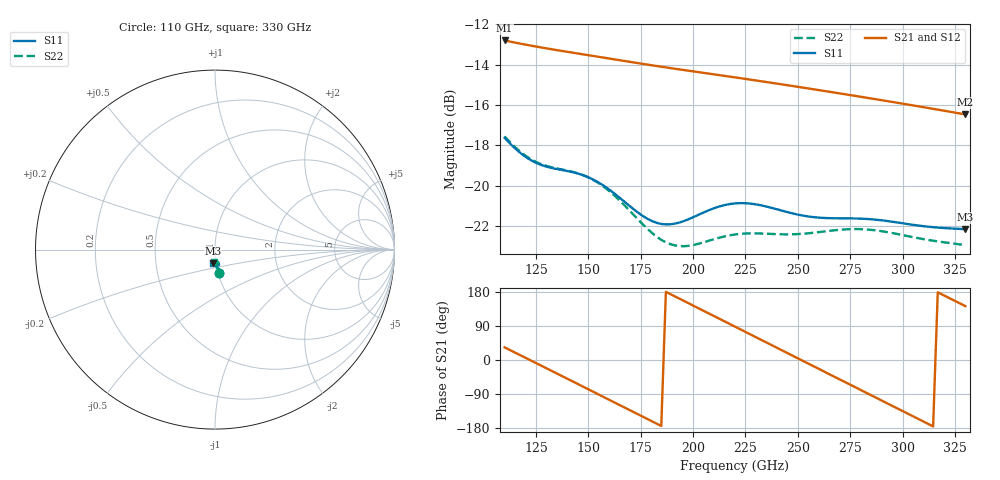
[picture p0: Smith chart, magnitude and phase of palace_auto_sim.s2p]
#  GHZ S DB R 50
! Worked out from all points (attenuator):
!   101 points, 110 GHz to 330 GHz, reference 50 ohm
!   highest |S21| = -12.79 dB at 110 GHz (marker M1); lowest = -16.5 dB at 330 GHz (marker M2)
!   lowest |S11| = -22.2 dB at 330 GHz (marker M3), VSWR 1.17, Z = 48.4 - j7.52 ohm
!   |S11| at or under -10 dB: start of sweep to end of sweep
!   |S22| runs from -23.0 to -17.6 dB; largest |S21 - S12| = 3e-14
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110  -17.62 -81.3  -12.79 33.3  -12.79 33.3  -17.55 -81.0
118.8  -18.48 -80.5  -12.98 9.0  -12.98 9.0  -18.42 -80.4
127.6  -18.97 -79.0  -13.14 -15.3  -13.14 -15.3  -18.93 -79.1
138.6  -19.24 -78.9  -13.33 -45.8  -13.33 -45.8  -19.22 -79.4
147.4  -19.48 -80.6  -13.48 -70.2  -13.48 -70.2  -19.47 -81.6
156.2  -19.92 -83.0  -13.63 -94.7  -13.63 -94.7  -19.96 -84.6
165  -20.60 -84.3  -13.77 -119.1  -13.77 -119.1  -20.74 -87.0
176  -21.50 -82.9  -13.95 -149.7  -13.95 -149.7  -21.92 -86.8
184.8  -21.90 -79.4  -14.09 -174.1  -14.09 -174.1  -22.68 -83.6
193.6  -21.82 -76.1  -14.23 161.5  -14.23 161.5  -23.00 -79.1
204.6  -21.35 -74.9  -14.39 130.9  -14.39 130.9  -22.82 -75.3
220  -20.88 -78.7  -14.62 88.0  -14.62 88.0  -22.42 -75.2
228.8  -20.91 -81.7  -14.76 63.5  -14.76 63.5  -22.36 -76.4
239.8  -21.16 -84.7  -14.93 32.9  -14.93 32.9  -22.40 -77.5
248.6  -21.40 -86.0  -15.07 8.3  -15.07 8.3  -22.41 -78.0
257.4  -21.56 -86.7  -15.21 -16.2  -15.21 -16.2  -22.33 -78.8
268.4  -21.62 -87.7  -15.39 -46.8  -15.39 -46.8  -22.20 -80.6
277.2  -21.62 -89.1  -15.54 -71.3  -15.54 -71.3  -22.15 -82.8
286  -21.67 -90.8  -15.69 -95.8  -15.69 -95.8  -22.20 -85.3
294.8  -21.78 -92.6  -15.84 -120.2  -15.84 -120.2  -22.34 -87.6
312.4  -22.03 -95.2  -16.15 -169.1  -16.15 -169.1  -22.69 -91.1
330  -22.16 -97.9  -16.46 142.0  -16.46 142.0  -22.95 -94.6
